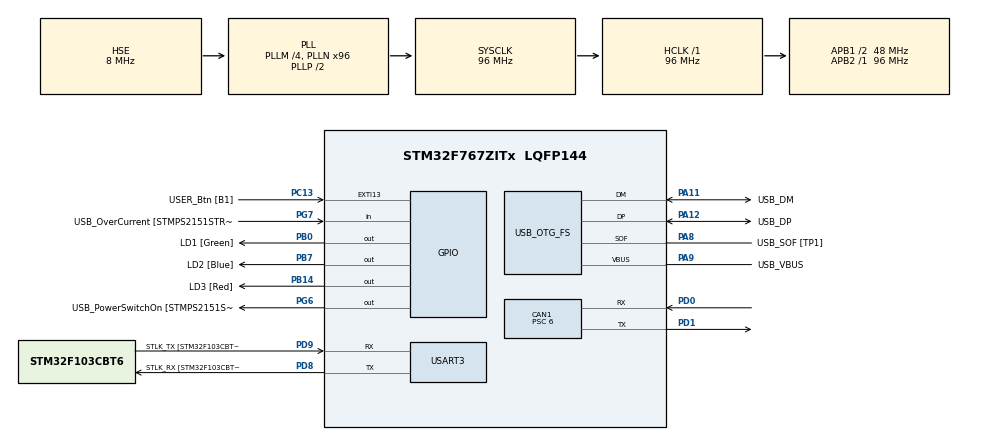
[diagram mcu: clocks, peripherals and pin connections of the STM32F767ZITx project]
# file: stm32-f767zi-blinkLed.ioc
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CAN1.BS1=CAN_BS1_13TQ
CAN1.BS2=CAN_BS2_2TQ
CAN1.CalculateBaudRate=500000
CAN1.CalculateTimeBit=2000
CAN1.CalculateTimeQuantum=125.0
CAN1.Prescaler=6
CAN1.SJW=CAN_SJW_1TQ
Mcu.Family=STM32F7
Mcu.Name=STM32F767ZITx
Mcu.Package=LQFP144
NVIC.CAN1_RX0_IRQn=true\:0\:0\:false\:false\:true\:true\:true\:true
NVIC.CAN1_TX_IRQn=true\:0\:0\:false\:false\:true\:true\:true\:true
NVIC.PriorityGroup=NVIC_PRIORITYGROUP_4
PA1.GPIO_Label=RMII_REF_CLK [LAN8742A-CZ-TR_REFCLK0]
PA1.Signal=ETH_REF_CLK
PA10.GPIO_Label=USB_ID
PA10.Signal=USB_OTG_FS_ID
PA11.GPIO_Label=USB_DM
PA11.Mode=Device_Only
PA11.Signal=USB_OTG_FS_DM
PA12.GPIO_Label=USB_DP
PA12.Mode=Device_Only
PA12.Signal=USB_OTG_FS_DP
PA13.GPIO_Label=TMS
PA13.Mode=Serial_Wire
PA13.Signal=SYS_JTMS-SWDIO
PA14.GPIO_Label=TCK
PA14.Mode=Serial_Wire
PA14.Signal=SYS_JTCK-SWCLK
PA2.GPIO_Label=RMII_MDIO [LAN8742A-CZ-TR_MDIO]
PA2.Signal=ETH_MDIO
PA7.GPIO_Label=RMII_CRS_DV [LAN8742A-CZ-TR_CRS_DV]
PA7.Signal=ETH_CRS_DV
PA8.GPIO_Label=USB_SOF [TP1]
PA8.Mode=Activate_SOF_FS
PA8.Signal=USB_OTG_FS_SOF
PA9.GPIO_Label=USB_VBUS
PA9.Mode=Activate_VBUS
PA9.Signal=USB_OTG_FS_VBUS
PB0.GPIO_Label=LD1 [Green]
PB0.Signal=GPIO_Output
PB13.GPIO_Label=RMII_TXD1 [LAN8742A-CZ-TR_TXD1]
PB13.Signal=ETH_TXD1
PB14.GPIO_Label=LD3 [Red]
PB14.Signal=GPIO_Output
PB3.GPIO_Label=SWO
PB3.Signal=SYS_JTDO-SWO
PB7.GPIO_Label=LD2 [Blue]
PB7.Signal=GPIO_Output
PC1.GPIO_Label=RMII_MDC [LAN8742A-CZ-TR_MDC]
PC1.Signal=ETH_MDC
PC13.GPIO_Label=USER_Btn [B1]
PC13.Signal=GPXTI13
PC14/OSC32_IN.Mode=LSE-External-Oscillator
PC14/OSC32_IN.Signal=RCC_OSC32_IN
PC15/OSC32_OUT.Mode=LSE-External-Oscillator
PC15/OSC32_OUT.Signal=RCC_OSC32_OUT
PC4.GPIO_Label=RMII_RXD0 [LAN8742A-CZ-TR_RXD0]
PC4.Signal=ETH_RXD0
PC5.GPIO_Label=RMII_RXD1 [LAN8742A-CZ-TR_RXD1]
PC5.Signal=ETH_RXD1
PD0.Mode=CAN_Activate
PD0.Signal=CAN1_RX
PD1.Mode=CAN_Activate
PD1.Signal=CAN1_TX
PD8.GPIO_Label=STLK_RX [STM32F103CBT6_PA3]
PD8.Mode=Asynchronous
PD8.Signal=USART3_TX
PD9.GPIO_Label=STLK_TX [STM32F103CBT6_PA2]
PD9.Mode=Asynchronous
PD9.Signal=USART3_RX
PG11.GPIO_Label=RMII_TX_EN [LAN8742A-CZ-TR_TXEN]
PG11.Signal=ETH_TX_EN
PG13.GPIO_Label=RMII_TXD0 [LAN8742A-CZ-TR_TXD0]
PG13.Signal=ETH_TXD0
PG6.GPIO_Label=USB_PowerSwitchOn [STMPS2151STR_EN]
PG6.Signal=GPIO_Output
PG7.GPIO_Label=USB_OverCurrent [STMPS2151STR_FAULT]
PG7.Signal=GPIO_Input
PH0/OSC_IN.GPIO_Label=MCO [STM32F103CBT6_PA8]
PH0/OSC_IN.Mode=HSE-External-Clock-Source
PH0/OSC_IN.Signal=RCC_OSC_IN
PH1/OSC_OUT.Mode=HSE-External-Clock-Source
PH1/OSC_OUT.Signal=RCC_OSC_OUT
ProjectManager.HeapSize=0x200
ProjectManager.StackSize=0x400
ProjectManager.TargetToolchain=STM32CubeIDE
RCC.48MHZClocksFreq_Value=24000000
RCC.AHBFreq_Value=96000000
RCC.APB1CLKDivider=RCC_HCLK_DIV2
RCC.APB1Freq_Value=48000000
RCC.APB1TimFreq_Value=96000000
RCC.APB2Freq_Value=96000000
RCC.APB2TimFreq_Value=96000000
RCC.CortexFreq_Value=96000000
RCC.HCLKFreq_Value=96000000
RCC.HSE_VALUE=8000000
RCC.HSI_VALUE=16000000
RCC.PLLM=4
RCC.PLLMUL=RCC_PLL_MUL9
RCC.PLLN=96
RCC.PLLQ=4
RCC.PRESCALERUSB=RCC_USBCLKSOURCE_PLL_DIV1_5
RCC.SYSCLKFreq_VALUE=96000000
RCC.SYSCLKSource=RCC_SYSCLKSOURCE_PLLCLK
RCC.SYSCLKSourceVirtual=RCC_SYSCLKSOURCE_PLLCLK
RCC.USBFreq_Value=48000000
RCC.VCOOutputFreq_Value=192000000
USART3.VirtualMode-Asynchronous=VM_ASYNC
USB_OTG_FS.VirtualMode=Device_Only
board=NUCLEO-F767ZI

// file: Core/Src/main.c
/* USER CODE BEGIN Header */
/**
  ******************************************************************************
  * @file           : main.c
  * @brief          : Main program body
  ******************************************************************************
  * @attention
  *
  * Copyright (c) 2022 STMicroelectronics.
  * All rights reserved.
  *
  * This software is licensed under terms that can be found in the LICENSE file
  * in the root directory of this software component.
  * If no LICENSE file comes with this software, it is provided AS-IS.
  *
  ******************************************************************************
  */
/* USER CODE END Header */
#include "main.h"

 CAN_HandleTypeDef hcan1;

UART_HandleTypeDef huart3;

PCD_HandleTypeDef hpcd_USB_OTG_FS;

/* USER CODE BEGIN PV */
CAN_FilterTypeDef sFilterConfig; //struct for CAN filter config
CAN_TxHeaderTypeDef TxHeader; // header struct of CAN msg intended for TX
CAN_RxHeaderTypeDef RxHeader; // header struct of CAN msg intended for RX
uint8_t TxData[8]; // TX data array
uint8_t RxData[8]; // RX data array
uint32_t TxMailbox; // TX mailbox (for info, into which mailbox msg was put)
/* USER CODE END PV */

void SystemClock_Config(void);
static void MX_GPIO_Init(void);
static void MX_USART3_UART_Init(void);
static void MX_USB_OTG_FS_PCD_Init(void);
static void MX_CAN1_Init(void);
/* USER CODE BEGIN PFP */

	// ====
	// ADDED FOR redirecting PRINTF to USART3 - BEGIN
	#ifdef __GNUC__
	/* With GCC, small printf (option LD Linker->Libraries->Small printf
	   set to 'Yes') calls __io_putchar() */
	#define PUTCHAR_PROTOTYPE int __io_putchar(int ch)
	#else
	#define PUTCHAR_PROTOTYPE int fputc(int ch, FILE *f)
	#endif /* __GNUC__ */
	// ADDED FOR redirecting PRINTF to USART3 - END
	// ====

/* USER CODE END PFP */

/* USER CODE BEGIN 0 */

	// ====
	// ADDED FOR redirecting PRINTF to USART3 - BEGIN
	/**
	  * @brief  Retargets the C library printf function to the USART.
	  * @param  None
	  * @retval None
	  */
	PUTCHAR_PROTOTYPE
	{
	  /* Place your implementation of fputc here */
	  /* e.g. write a character to the USART1 and Loop until the end of transmission */
	  HAL_UART_Transmit(&huart3, (uint8_t *)&ch, 1, 0xFFFF);

	  return ch;
	}
	// ADDED FOR redirecting PRINTF to USART2 - END
	// ====

/* USER CODE END 0 */

int main(void)
{

  /* MCU Configuration--------------------------------------------------------*/

  /* Reset of all peripherals, Initializes the Flash interface and the Systick. */
  HAL_Init();

  /* Configure the system clock */
  SystemClock_Config();

  /* Initialize all configured peripherals */
  MX_GPIO_Init();
  MX_USART3_UART_Init();
  MX_USB_OTG_FS_PCD_Init();
  MX_CAN1_Init();
  /* USER CODE BEGIN 2 */

  // ===== CAN FILTER CONFIG =======================================================
  // BEGIN

  // see pg. 1531 ff. in Reference Manual for STM32F7xx for details regarding CAN and filter config

  // GOAL: let all msgs pass > NO filtering !!

  // Set CAN filter config values as necessary
  sFilterConfig.FilterBank = 0; // first filter (bank) > assigned to master CAN interface
  sFilterConfig.FilterMode = CAN_FILTERMODE_IDMASK; // filter by masking IDs; alternative: explicit list of IDs
  sFilterConfig.FilterScale = CAN_FILTERSCALE_32BIT; // any filter value is specified as 32bit > required if using extended IDs

  // Define how to mask IDs for filtering (0 = bit not compared > 0x0000 > NO bits are left during masking > ALL IDs PASS FILTER !)
  sFilterConfig.FilterMaskIdHigh = 0x0000;
  sFilterConfig.FilterMaskIdLow = 0x0000;
  // Define MASKED max and min IDs tobe passed after applying MASKING
  sFilterConfig.FilterIdHigh = 0x0000; //
  sFilterConfig.FilterIdLow = 0x0000;

  // FIFO
  sFilterConfig.FilterFIFOAssignment = CAN_RX_FIFO0; // FIFO zero assigned to RX queue
  sFilterConfig.SlaveStartFilterBank = 14; // lower index filter banks are assigned to master CAN interface

  // Filter activation status
  sFilterConfig.FilterActivation = ENABLE; // set filter ACTIVE, and not just configure it

  // Apply CAN filter config
  if (HAL_CAN_ConfigFilter(&hcan1, &sFilterConfig) != HAL_OK)
  {
	  /* Filter configuration Error */
	  Error_Handler();
  }

  // END
  // ===== CAN FILTER CONFIG =======================================================

  // ===== CAN START =======================================================
	  // BEGIN
  if (HAL_CAN_Start(&hcan1) != HAL_OK)
  {
	  // Start Error
	  Error_Handler();
  }
  // END
  // ===== CAN START =======================================================

  // ===== CAN INTERRUPT CONFIG =======================================================
  // BEGIN

  if (HAL_CAN_ActivateNotification(&hcan1, CAN_IT_RX_FIFO0_MSG_PENDING | CAN_IT_TX_MAILBOX_EMPTY) != HAL_OK)
  {
	  /* Notification Error */
	  Error_Handler();
  }

  // END
  // ===== CAN INTERRUPT CONFIG =======================================================

  // ===== CAN TX-MSG PREPARE =======================================================
  // BEGIN

  // Msg uses STD_ID (not EXT_ID)
  TxHeader.IDE = CAN_ID_STD;
  // CAN-ID: 0x781
  TxHeader.StdId = 0x001;
  // TxHeader.ExtId = 0x01; ExtID not required
  // MSG is standard data frame, NOT an RTR frame (CAN_RTR_REMOTE)
  TxHeader.RTR = CAN_RTR_DATA;
  TxHeader.DLC = 8;
  TxHeader.TransmitGlobalTime = DISABLE;

  // Fill data for msg
  TxData[0] = 0xAA;
  TxData[1] = 0xBB;
  TxData[2] = 0xCC;
  TxData[3] = 0xDD;
  TxData[4] = 0xEE;
  TxData[5] = 0xFF;
  TxData[6] = 0x00;
  TxData[7] = 0x01;

  // END
  // ===== CAN TX-MSG PREPARE =======================================================

  /* USER CODE END 2 */

  /* Infinite loop */
  while (1)
  {

    /* USER CODE BEGIN 3 */

	// Toggle RED LED (most likely ON)
	// HAL_GPIO_TogglePin(LD3_GPIO_Port, LD3_Pin);

	// Prepare CAN message by increased last byte in msg incl. overflow (uint8_t)
	TxData[7] = TxData[7] + 1;

	// Add CAN msg to TXMailbox
	HAL_CAN_AddTxMessage(&hcan1, &TxHeader, TxData, &TxMailbox);

	// HAL_Delay(50);

	// Toggle RED LED (most likely OFF)
	// HAL_GPIO_TogglePin(LD3_GPIO_Port, LD3_Pin);

	// Wait till next cycle
	HAL_Delay(1);

  }
  /* USER CODE END 3 */
}

void SystemClock_Config(void)
{
  RCC_OscInitTypeDef RCC_OscInitStruct = {0};
  RCC_ClkInitTypeDef RCC_ClkInitStruct = {0};

  /** Configure LSE Drive Capability
  */
  HAL_PWR_EnableBkUpAccess();

  /** Configure the main internal regulator output voltage
  */
  __HAL_RCC_PWR_CLK_ENABLE();
  __HAL_PWR_VOLTAGESCALING_CONFIG(PWR_REGULATOR_VOLTAGE_SCALE3);

  /** Initializes the RCC Oscillators according to the specified parameters
  * in the RCC_OscInitTypeDef structure.
  */
  RCC_OscInitStruct.OscillatorType = RCC_OSCILLATORTYPE_HSE;
  RCC_OscInitStruct.HSEState = RCC_HSE_BYPASS;
  RCC_OscInitStruct.PLL.PLLState = RCC_PLL_ON;
  RCC_OscInitStruct.PLL.PLLSource = RCC_PLLSOURCE_HSE;
  RCC_OscInitStruct.PLL.PLLM = 4;
  RCC_OscInitStruct.PLL.PLLN = 96;
  RCC_OscInitStruct.PLL.PLLP = RCC_PLLP_DIV2;
  RCC_OscInitStruct.PLL.PLLQ = 4;
  RCC_OscInitStruct.PLL.PLLR = 2;
  if (HAL_RCC_OscConfig(&RCC_OscInitStruct) != HAL_OK)
  {
    Error_Handler();
  }

  /** Activate the Over-Drive mode
  */
  if (HAL_PWREx_EnableOverDrive() != HAL_OK)
  {
    Error_Handler();
  }

  /** Initializes the CPU, AHB and APB buses clocks
  */
  RCC_ClkInitStruct.ClockType = RCC_CLOCKTYPE_HCLK|RCC_CLOCKTYPE_SYSCLK
                              |RCC_CLOCKTYPE_PCLK1|RCC_CLOCKTYPE_PCLK2;
  RCC_ClkInitStruct.SYSCLKSource = RCC_SYSCLKSOURCE_PLLCLK;
  RCC_ClkInitStruct.AHBCLKDivider = RCC_SYSCLK_DIV1;
  RCC_ClkInitStruct.APB1CLKDivider = RCC_HCLK_DIV2;
  RCC_ClkInitStruct.APB2CLKDivider = RCC_HCLK_DIV1;

  if (HAL_RCC_ClockConfig(&RCC_ClkInitStruct, FLASH_LATENCY_3) != HAL_OK)
  {
    Error_Handler();
  }
}

static void MX_CAN1_Init(void)
{

  /* USER CODE BEGIN CAN1_Init 1 */

	// ===== CAN BUS CONFIG =======================================================
	// BEGIN

	// 500 kBit / s

  /* USER CODE END CAN1_Init 1 */
  hcan1.Instance = CAN1;
  hcan1.Init.Prescaler = 6;
  hcan1.Init.Mode = CAN_MODE_NORMAL;
  hcan1.Init.SyncJumpWidth = CAN_SJW_1TQ;
  hcan1.Init.TimeSeg1 = CAN_BS1_13TQ;
  hcan1.Init.TimeSeg2 = CAN_BS2_2TQ;
  hcan1.Init.TimeTriggeredMode = DISABLE;
  hcan1.Init.AutoBusOff = DISABLE;
  hcan1.Init.AutoWakeUp = DISABLE;
  hcan1.Init.AutoRetransmission = DISABLE;
  hcan1.Init.ReceiveFifoLocked = DISABLE;
  hcan1.Init.TransmitFifoPriority = DISABLE;
  if (HAL_CAN_Init(&hcan1) != HAL_OK)
  {
    Error_Handler();
  }
  /* USER CODE BEGIN CAN1_Init 2 */

	// END
	// ===== CAN BUS CONFIG =======================================================

  /* USER CODE END CAN1_Init 2 */

}

static void MX_USART3_UART_Init(void)
{

  huart3.Instance = USART3;
  huart3.Init.BaudRate = 115200;
  huart3.Init.WordLength = UART_WORDLENGTH_8B;
  huart3.Init.StopBits = UART_STOPBITS_1;
  huart3.Init.Parity = UART_PARITY_NONE;
  huart3.Init.Mode = UART_MODE_TX_RX;
  huart3.Init.HwFlowCtl = UART_HWCONTROL_NONE;
  huart3.Init.OverSampling = UART_OVERSAMPLING_16;
  huart3.Init.OneBitSampling = UART_ONE_BIT_SAMPLE_DISABLE;
  huart3.AdvancedInit.AdvFeatureInit = UART_ADVFEATURE_NO_INIT;
  if (HAL_UART_Init(&huart3) != HAL_OK)
  {
    Error_Handler();
  }

}

static void MX_USB_OTG_FS_PCD_Init(void)
{

  hpcd_USB_OTG_FS.Instance = USB_OTG_FS;
  hpcd_USB_OTG_FS.Init.dev_endpoints = 6;
  hpcd_USB_OTG_FS.Init.speed = PCD_SPEED_FULL;
  hpcd_USB_OTG_FS.Init.dma_enable = DISABLE;
  hpcd_USB_OTG_FS.Init.phy_itface = PCD_PHY_EMBEDDED;
  hpcd_USB_OTG_FS.Init.Sof_enable = ENABLE;
  hpcd_USB_OTG_FS.Init.low_power_enable = DISABLE;
  hpcd_USB_OTG_FS.Init.lpm_enable = DISABLE;
  hpcd_USB_OTG_FS.Init.vbus_sensing_enable = ENABLE;
  hpcd_USB_OTG_FS.Init.use_dedicated_ep1 = DISABLE;
  if (HAL_PCD_Init(&hpcd_USB_OTG_FS) != HAL_OK)
  {
    Error_Handler();
  }

}

static void MX_GPIO_Init(void)
{
  GPIO_InitTypeDef GPIO_InitStruct = {0};

  /* GPIO Ports Clock Enable */
  __HAL_RCC_GPIOC_CLK_ENABLE();
  __HAL_RCC_GPIOH_CLK_ENABLE();
  __HAL_RCC_GPIOA_CLK_ENABLE();
  __HAL_RCC_GPIOB_CLK_ENABLE();
  __HAL_RCC_GPIOD_CLK_ENABLE();
  __HAL_RCC_GPIOG_CLK_ENABLE();

  /*Configure GPIO pin Output Level */
  HAL_GPIO_WritePin(GPIOB, LD1_Pin|LD3_Pin|LD2_Pin, GPIO_PIN_RESET);

  /*Configure GPIO pin Output Level */
  HAL_GPIO_WritePin(USB_PowerSwitchOn_GPIO_Port, USB_PowerSwitchOn_Pin, GPIO_PIN_RESET);

  /*Configure GPIO pin : USER_Btn_Pin */
  GPIO_InitStruct.Pin = USER_Btn_Pin;
  GPIO_InitStruct.Mode = GPIO_MODE_IT_RISING;
  GPIO_InitStruct.Pull = GPIO_NOPULL;
  HAL_GPIO_Init(USER_Btn_GPIO_Port, &GPIO_InitStruct);

  /*Configure GPIO pins : RMII_MDC_Pin RMII_RXD0_Pin RMII_RXD1_Pin */
  GPIO_InitStruct.Pin = RMII_MDC_Pin|RMII_RXD0_Pin|RMII_RXD1_Pin;
  GPIO_InitStruct.Mode = GPIO_MODE_AF_PP;
  GPIO_InitStruct.Pull = GPIO_NOPULL;
  GPIO_InitStruct.Speed = GPIO_SPEED_FREQ_VERY_HIGH;
  GPIO_InitStruct.Alternate = GPIO_AF11_ETH;
  HAL_GPIO_Init(GPIOC, &GPIO_InitStruct);

  /*Configure GPIO pins : RMII_REF_CLK_Pin RMII_MDIO_Pin RMII_CRS_DV_Pin */
  GPIO_InitStruct.Pin = RMII_REF_CLK_Pin|RMII_MDIO_Pin|RMII_CRS_DV_Pin;
  GPIO_InitStruct.Mode = GPIO_MODE_AF_PP;
  GPIO_InitStruct.Pull = GPIO_NOPULL;
  GPIO_InitStruct.Speed = GPIO_SPEED_FREQ_VERY_HIGH;
  GPIO_InitStruct.Alternate = GPIO_AF11_ETH;
  HAL_GPIO_Init(GPIOA, &GPIO_InitStruct);

  /*Configure GPIO pins : LD1_Pin LD3_Pin LD2_Pin */
  GPIO_InitStruct.Pin = LD1_Pin|LD3_Pin|LD2_Pin;
  GPIO_InitStruct.Mode = GPIO_MODE_OUTPUT_PP;
  GPIO_InitStruct.Pull = GPIO_NOPULL;
  GPIO_InitStruct.Speed = GPIO_SPEED_FREQ_LOW;
  HAL_GPIO_Init(GPIOB, &GPIO_InitStruct);

  /*Configure GPIO pin : RMII_TXD1_Pin */
  GPIO_InitStruct.Pin = RMII_TXD1_Pin;
  GPIO_InitStruct.Mode = GPIO_MODE_AF_PP;
  GPIO_InitStruct.Pull = GPIO_NOPULL;
  GPIO_InitStruct.Speed = GPIO_SPEED_FREQ_VERY_HIGH;
  GPIO_InitStruct.Alternate = GPIO_AF11_ETH;
  HAL_GPIO_Init(RMII_TXD1_GPIO_Port, &GPIO_InitStruct);

  /*Configure GPIO pin : USB_PowerSwitchOn_Pin */
  GPIO_InitStruct.Pin = USB_PowerSwitchOn_Pin;
  GPIO_InitStruct.Mode = GPIO_MODE_OUTPUT_PP;
  GPIO_InitStruct.Pull = GPIO_NOPULL;
  GPIO_InitStruct.Speed = GPIO_SPEED_FREQ_LOW;
  HAL_GPIO_Init(USB_PowerSwitchOn_GPIO_Port, &GPIO_InitStruct);

  /*Configure GPIO pin : USB_OverCurrent_Pin */
  GPIO_InitStruct.Pin = USB_OverCurrent_Pin;
  GPIO_InitStruct.Mode = GPIO_MODE_INPUT;
  GPIO_InitStruct.Pull = GPIO_NOPULL;
  HAL_GPIO_Init(USB_OverCurrent_GPIO_Port, &GPIO_InitStruct);

  /*Configure GPIO pins : RMII_TX_EN_Pin RMII_TXD0_Pin */
  GPIO_InitStruct.Pin = RMII_TX_EN_Pin|RMII_TXD0_Pin;
  GPIO_InitStruct.Mode = GPIO_MODE_AF_PP;
  GPIO_InitStruct.Pull = GPIO_NOPULL;
  GPIO_InitStruct.Speed = GPIO_SPEED_FREQ_VERY_HIGH;
  GPIO_InitStruct.Alternate = GPIO_AF11_ETH;
  HAL_GPIO_Init(GPIOG, &GPIO_InitStruct);

}

/* USER CODE BEGIN 4 */

void HAL_CAN_TxMailbox0CompleteCallback(CAN_HandleTypeDef *hcan)
{
	// Prepare CAN message by increased last byte in msg incl. overflow (uint8_t)
	TxData[7] = TxData[7] + 1;

	// Add CAN msg to TXMailbox
	HAL_CAN_AddTxMessage(&hcan1, &TxHeader, TxData, &TxMailbox);
}

void HAL_CAN_TxMailbox1CompleteCallback(CAN_HandleTypeDef *hcan)
{
	// Prepare CAN message by increased last byte in msg incl. overflow (uint8_t)
	TxData[7] = TxData[7] + 1;

	// Add CAN msg to TXMailbox
	HAL_CAN_AddTxMessage(&hcan1, &TxHeader, TxData, &TxMailbox);
}

void HAL_CAN_TxMailbox2CompleteCallback(CAN_HandleTypeDef *hcan)
{
	// Prepare CAN message by increased last byte in msg incl. overflow (uint8_t)
	TxData[7] = TxData[7] + 1;

	// Add CAN msg to TXMailbox
	HAL_CAN_AddTxMessage(&hcan1, &TxHeader, TxData, &TxMailbox);
}

void HAL_CAN_RxFifo0MsgPendingCallback(CAN_HandleTypeDef *hcan)
{
	uint8_t i_counter; // counter for reporting CAN msg data

	// Get message from FIFO
	HAL_CAN_GetRxMessage(&hcan1, CAN_RX_FIFO0, &RxHeader, RxData);
	//
	printf("** CAN MSG - ID; 0x%03X  - DATA: ", (uint16_t)RxHeader.StdId);

	for (i_counter = 0; i_counter < RxHeader.DLC; ++i_counter)
	{
		if (0 == i_counter)
		{
			printf("0x%02X ", RxData[i_counter]);
		}
		else
		{
			printf("%02X ", RxData[i_counter]);
		}
	}
	printf("**\r\n");
}

/* USER CODE END 4 */

void Error_Handler(void)
{
  __disable_irq();
  while (1)
  {
  }
}
